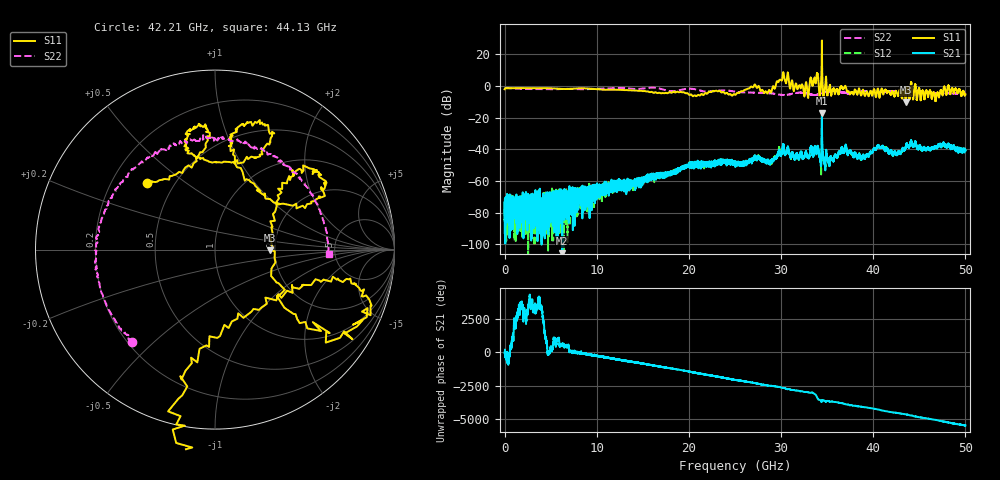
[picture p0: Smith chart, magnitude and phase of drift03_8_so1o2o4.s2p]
!Created with skrf (http://scikit-rf.org).
# Hz S RI R 50.0
!freq ReS11 ImS11 ReS21 ImS21 ReS12 ImS12 ReS22 ImS22
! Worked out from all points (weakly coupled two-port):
!   10000 points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, 5.3 MHz to 50 GHz, reference 50 ohm
!   highest |S21| = -17.00 dB at 34.43 GHz (marker M1); lowest = -105.7 dB at 6.26 GHz (marker M2)
!   lowest |S11| = -10.2 dB at 43.53 GHz (marker M3), VSWR 1.89, Z = 94.5 - j0.879 ohm
!   |S11| at or under -10 dB: 43.527 GHz to 43.53173 GHz (4.728 MHz wide, 0.0109 % of centre)
!   |S22| runs from -5.8 to -1.1 dB; largest |S21 - S12| = 0.038
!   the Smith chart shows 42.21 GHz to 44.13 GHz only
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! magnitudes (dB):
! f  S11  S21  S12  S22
! 5.3 MHz  -2.1  -80.5  -74.7  -1.3
! 6.26 GHz  -1.9  -105.7  -77.7  -1.9
! 8.34 GHz  -1.5  -68.8  -76.1  -2.1
! 16.67 GHz  -4.4  -55.9  -55.5  -1.5
! 20.02 GHz  -5.6  -49.6  -50.7  -1.7
! 25.01 GHz  -5.5  -48.5  -49.3  -3.5
! 27.02 GHz  -0.4  -46.0  -46.1  -4.2
! 28.72 GHz  -2.5  -48.7  -47.9  -4.6
! 30.14 GHz  4.3  -39.8  -40.6  -5.7
! 32.74 GHz  2.0  -42.2  -42.0  -4.6
! 33.34 GHz  2.6  -39.9  -39.9  -5.5
! 33.82 GHz  3.9  -41.6  -41.5  -5.7
! 34.43 GHz  28.8  -17.0  -18.9  -4.6
! 35.32 GHz  0.5  -45.9  -45.9  -3.4
! 36.84 GHz  -1.2  -42.0  -42.1  -4.2
! 38.87 GHz  -2.5  -44.1  -43.5  -3.2
! 40.6 GHz  -4.3  -38.4  -38.4  -4.1
! 41.67 GHz  -3.4  -42.1  -42.0  -3.4
! 43.53 GHz  -10.2  -38.8  -38.6  -4.2
! 46.58 GHz  -4.2  -38.9  -39.0  -4.5
! 47.52 GHz  -6.0  -36.7  -37.3  -4.8
! 50 GHz  -5.3  -41.1  -41.4  -4.6
